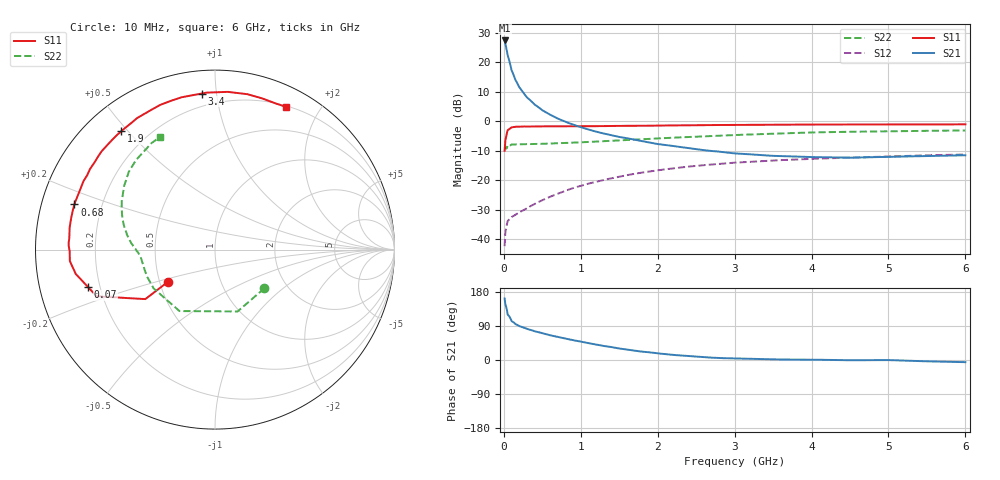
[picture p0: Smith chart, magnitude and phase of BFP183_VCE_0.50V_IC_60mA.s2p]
! Infineon Technologies  Discrete & RF Semiconductors
! BFP183
! VCE = 0.50V,  IC =  60 mA
! Common Emitter S-Parameters:  Jan 2016
# GHz  S  MA  R  50
!  f  S11  S21  S12  S22
! GHz  MAG  ANG  MAG  ANG  MAG  ANG  MAG  ANG
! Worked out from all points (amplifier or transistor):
!   210 points, 10 MHz to 6 GHz, reference 50 ohm
!   highest |S21| = 27.4 dB at 10 MHz (marker M1)
!   |S21| within 3 dB of that: start of sweep to 35.01 MHz
!   unconditionally stable (mu >= 1): start of sweep to 42.34 MHz; 100.9 MHz to end of sweep
!   at 185 MHz: K = 1.40, MAG = 17.9 dB, |S12| = -31.1 dB
!   at 1.52 GHz: K = 2.13, MAG = 0.6 dB, |S12| = -18.6 dB
!   at 6 GHz: K = 1.39, MAG = -3.9 dB, |S12| = -11.3 dB
!   S11 on the Smith chart (normalised r, x): 10 MHz: 0.55, -0.22; 70 MHz: 0.15, -0.14; 680 MHz: 0.10, +0.16; 1.9 GHz: 0.11, +0.48; 3.4 GHz: 0.12, +0.91; 6 GHz: 0.21, +1.60
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0.01  0.3167 -145.6  23.32 162.2  0.0077 55.9  0.3495 -38.1
0.02  0.476 -144.6  20.82 146.8  0.0133 51.8  0.367 -69.9
0.05  0.7088 -158.5  13.08 119.9  0.0205 38.9  0.3955 -120.0
0.07  0.7367 -163.4  10.69 115.3  0.0218 35.3  0.388 -131.1
0.1  0.7878 -170.1  7.333 102.8  0.024 30.7  0.4044 -147.6
0.15  0.8111 -175.5  5.015 94.9  0.0261 34.4  0.4076 -158.4
0.2  0.8098 -179.3  3.791 89.6  0.0287 38.2  0.4077 -163.7
0.24  0.8153 178.5  3.194 86.4  0.0305 40.6  0.4083 -166.3
0.3  0.8142 175.5  2.54 81.9  0.0338 44.2  0.4107 -169.4
0.4  0.8192 171.4  1.922 75.8  0.0399 49.9  0.413 -172.2
0.5  0.8203 168.2  1.539 70.6  0.0461 52.0  0.4158 -174.0
0.68  0.8227 162.2  1.147 61.9  0.058 55.5  0.4238 -176.6
0.8  0.8221 158.5  0.978 56.3  0.0664 56.0  0.4289 -177.9
1.02  0.8255 152.0  0.78 47.6  0.0821 56.0  0.4415 179.8
1.5  0.836 139.1  0.543 30.3  0.1157 52.0  0.4738 174.5
1.9  0.8419 128.3  0.436 20.1  0.1418 46.7  0.5029 169.1
2.02  0.8436 124.8  0.409 17.1  0.1493 45.1  0.5106 167.7
3.1  0.8684 100.5  0.281 3.6  0.2026 29.5  0.5918 150.8
3.4  0.8726 94.9  0.265 2.0  0.2134 25.5  0.6111 146.3
4.1  0.8812 83.9  0.247 0.6  0.2339 16.8  0.6501 136.6
5.1  0.8817 71.9  0.252 -0.9  0.2559 7.0  0.6785 124.6
6  0.8884 63.5  0.266 -5.7  0.2736 -2.5  0.6984 116.2
